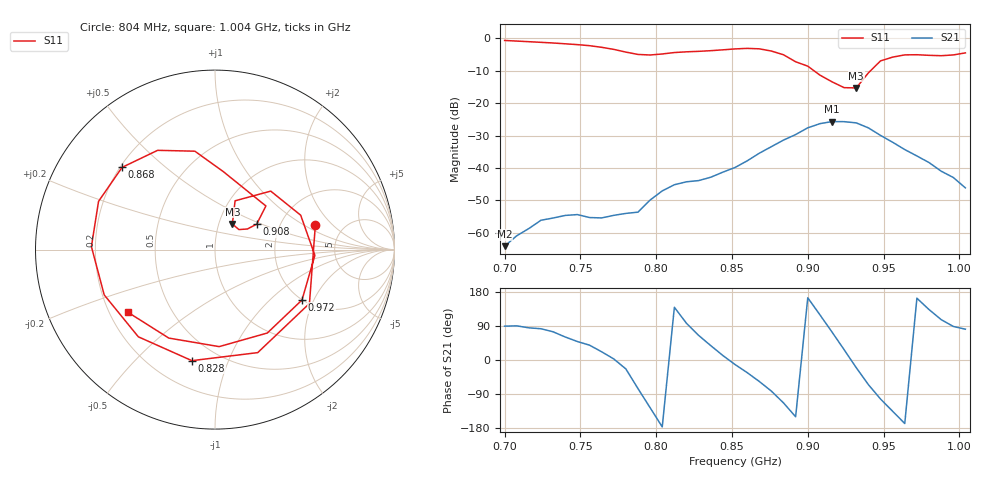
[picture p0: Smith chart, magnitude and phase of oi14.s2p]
# Hz S RI R 50
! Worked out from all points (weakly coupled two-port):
!   39 points, 700 MHz to 1.004 GHz, reference 50 ohm
!   highest |S21| = -25.66 dB at 916 MHz (marker M1); lowest = -64.1 dB at 700 MHz (marker M2)
!   lowest |S11| = -15.3 dB at 932 MHz (marker M3), VSWR 1.42, Z = 58 + j17 ohm
!   |S11| at or under -10 dB: 904.2 MHz to 941.4 MHz (37.18 MHz wide, 4.03 % of centre)
!   S12 and S22 are empty: the file has one direction only
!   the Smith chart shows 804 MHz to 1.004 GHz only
!   S11 on the Smith chart (normalised r, x): 804 MHz: 3.14, +1.28; 828 MHz: 0.36, -0.75; 868 MHz: 0.21, +0.36; 908 MHz: 1.52, +0.46; 972 MHz: 1.99, -1.63; 1.004 GHz: 0.28, -0.30
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7e8  0.7637 0.5315  7.28e-06 0.000622  0 0  0 0
7.24e8  0.831 -0.2586  0.000204 0.00155  0 0  0 0
7.4e8  0.4412 -0.6986  0.000908 0.00162  0 0  0 0
7.56e8  -0.1968 -0.7476  0.00133 0.00109  0 0  0 0
7.72e8  -0.6514 -0.1879  0.00186 9.38e-05  0 0  0 0
7.8e8  -0.5711 0.2282  0.00183 -0.000797  0 0  0 0
7.88e8  -0.2181 0.5223  0.000523 -0.00202  0 0  0 0
7.96e8  0.257 0.4919  -0.00188 -0.0026  0 0  0 0
8.04e8  0.5592 0.1364  -0.00443 -0.000266  0 0  0 0
8.2e8  0.238 -0.5739  -0.000725 0.00608  0 0  0 0
8.28e8  -0.1287 -0.6187  0.00271 0.00579  0 0  0 0
8.52e8  -0.6886 0.0166  0.00997 -0.00209  0 0  0 0
8.68e8  -0.5177 0.4582  0.00931 -0.0141  0 0  0 0
8.84e8  -0.1121 0.5483  -0.0106 -0.0248  0 0  0 0
9e8  0.2836 0.243  -0.0401 0.0114  0 0  0 0
9.08e8  0.2319 0.1416  -0.0237 0.0421  0 0  0 0
9.16e8  0.1805 0.1149  0.0145 0.0501  0 0  0 0
9.32e8  0.0967 0.1424  0.0466 -0.0173  0 0  0 0
9.56e8  0.4776 0.1914  -0.0178 -0.0176  0 0  0 0
9.72e8  0.4848 -0.2807  -0.0147 0.00447  0 0  0 0
9.88e8  0.0232 -0.5406  -0.00257 0.00857  0 0  0 0
1.004e9  -0.4863 -0.3484  0.000748 0.00488  0 0  0 0
